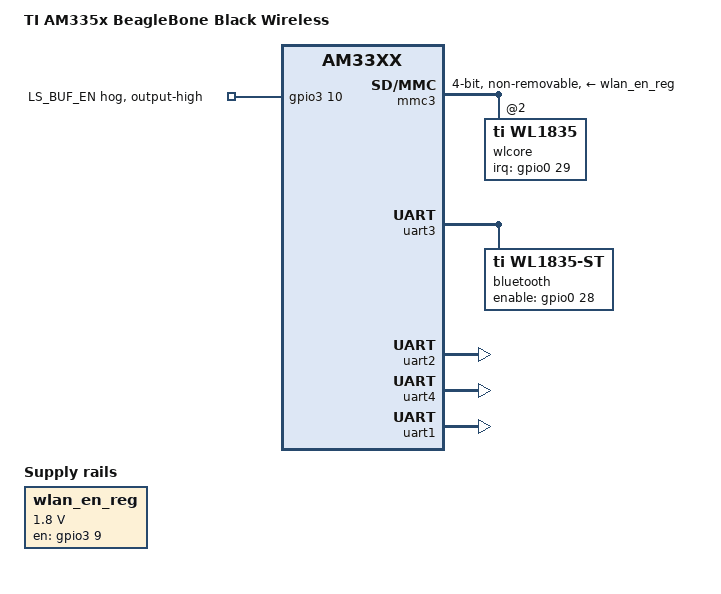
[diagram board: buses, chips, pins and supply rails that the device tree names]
// SPDX-License-Identifier: GPL-2.0-only
/*
 * Copyright (C) 2012 Texas Instruments Incorporated - https://www.ti.com/
 */
/dts-v1/;

#include "am33xx.dtsi"
#include "am335x-bone-common.dtsi"
#include "am335x-boneblack-common.dtsi"
#include <dt-bindings/interrupt-controller/irq.h>

/ {
	model = "TI AM335x BeagleBone Black Wireless";
	compatible = "ti,am335x-bone-black-wireless", "ti,am335x-bone-black", "ti,am335x-bone", "ti,am33xx";

	wlan_en_reg: fixedregulator@2 {
		compatible = "regulator-fixed";
		regulator-name = "wlan-en-regulator";
		regulator-min-microvolt = <1800000>;
		regulator-max-microvolt = <1800000>;
		startup-delay-us= <70000>;

		/* WL_EN */
		gpio = <&gpio3 9 0>;
		enable-active-high;
	};
};

&am33xx_pinmux {
	bt_pins: pinmux_bt_pins {
		pinctrl-single,pins = <
			AM33XX_PADCONF(AM335X_PIN_MII1_TXD0, PIN_OUTPUT_PULLUP, MUX_MODE7)	/* gmii1_txd0.gpio0_28 - BT_EN */
		>;
	};

	mmc3_pins: pinmux_mmc3_pins {
		pinctrl-single,pins = <
			AM33XX_PADCONF(AM335X_PIN_MII1_RXD1, PIN_INPUT_PULLUP, MUX_MODE6 ) /* (L15) gmii1_rxd1.mmc2_clk */
			AM33XX_PADCONF(AM335X_PIN_MII1_TX_EN, PIN_INPUT_PULLUP, MUX_MODE6 ) /* (J16) gmii1_txen.mmc2_cmd */
			AM33XX_PADCONF(AM335X_PIN_MII1_RX_DV, PIN_INPUT_PULLUP, MUX_MODE5 ) /* (J17) gmii1_rxdv.mmc2_dat0 */
			AM33XX_PADCONF(AM335X_PIN_MII1_TXD3, PIN_INPUT_PULLUP, MUX_MODE5 ) /* (J18) gmii1_txd3.mmc2_dat1 */
			AM33XX_PADCONF(AM335X_PIN_MII1_TXD2, PIN_INPUT_PULLUP, MUX_MODE5 ) /* (K15) gmii1_txd2.mmc2_dat2 */
			AM33XX_PADCONF(AM335X_PIN_MII1_COL, PIN_INPUT_PULLUP, MUX_MODE5 ) /* (H16) gmii1_col.mmc2_dat3 */
		>;
	};

	uart3_pins: pinmux_uart3_pins {
		pinctrl-single,pins = <
			AM33XX_PADCONF(AM335X_PIN_MII1_RXD3, PIN_INPUT_PULLUP, MUX_MODE1)	/* gmii1_rxd3.uart3_rxd */
			AM33XX_PADCONF(AM335X_PIN_MII1_RXD2, PIN_OUTPUT_PULLDOWN, MUX_MODE1)	/* gmii1_rxd2.uart3_txd */
			AM33XX_PADCONF(AM335X_PIN_MDIO, PIN_INPUT, MUX_MODE3)		/* mdio_data.uart3_ctsn */
			AM33XX_PADCONF(AM335X_PIN_MDC, PIN_OUTPUT_PULLDOWN, MUX_MODE3)	/* mdio_clk.uart3_rtsn */
		>;
	};

	wl18xx_pins: pinmux_wl18xx_pins {
		pinctrl-single,pins = <
			AM33XX_PADCONF(AM335X_PIN_MII1_TX_CLK, PIN_OUTPUT_PULLDOWN, MUX_MODE7)	/* gmii1_txclk.gpio3_9 WL_EN */
			AM33XX_PADCONF(AM335X_PIN_RMII1_REF_CLK, PIN_INPUT_PULLDOWN, MUX_MODE7)	/* rmii1_refclk.gpio0_29 WL_IRQ */
			AM33XX_PADCONF(AM335X_PIN_MII1_RX_CLK, PIN_OUTPUT_PULLUP, MUX_MODE7)	/* gmii1_rxclk.gpio3_10 LS_BUF_EN */
		>;
	};
	uart2_pins: uart2_pins {
		pinctrl-single,pins = < 
			AM33XX_IOPAD(0x954, PIN_OUTPUT_PULLDOWN | MUX_MODE1)
			AM33XX_IOPAD(0x950, PIN_INPUT_PULLUP | MUX_MODE1)
			>;
	};
	uart1_pins: uart1_pins {
		pinctrl-single,pins = < 
			AM33XX_IOPAD(0x984, PIN_OUTPUT_PULLDOWN | MUX_MODE1)
			AM33XX_IOPAD(0x980, PIN_INPUT_PULLUP | MUX_MODE1)
			>;
	};
	uart4_pins: uart4_pins {
		pinctrl-single,pins = <
			AM33XX_IOPAD(0x870, PIN_INPUT_PULLUP | MUX_MODE6)
			AM33XX_IOPAD(0x874, PIN_OUTPUT_PULLDOWN | MUX_MODE6)
			>;
	};
};

&mac {
	status = "disabled";
};

&mmc3 {
	dmas = <&edma_xbar 12 0 1
		&edma_xbar 13 0 2>;
	dma-names = "tx", "rx";
	status = "okay";
	vmmc-supply = <&wlan_en_reg>;
	bus-width = <4>;
	non-removable;
	cap-power-off-card;
	keep-power-in-suspend;
	pinctrl-names = "default";
	pinctrl-0 = <&mmc3_pins &wl18xx_pins>;

	#address-cells = <1>;
	#size-cells = <0>;
	wlcore: wlcore@2 {
		compatible = "ti,wl1835";
		reg = <2>;
		interrupt-parent = <&gpio0>;
		interrupts = <29 IRQ_TYPE_EDGE_RISING>;
	};
};

&uart3 {
	pinctrl-names = "default";
	pinctrl-0 = <&uart3_pins &bt_pins>;
	status = "okay";

	bluetooth {
		compatible = "ti,wl1835-st";
		enable-gpios = <&gpio0 28 GPIO_ACTIVE_HIGH>;
	};
};

&gpio3 {
	ls_buf_en {
		gpio-hog;
		gpios = <10 GPIO_ACTIVE_HIGH>;
		output-high;
		line-name = "LS_BUF_EN";
	};
};
&uart2 {
	compatible = "ti,am3352-uart", "ti,omap3-uart"; //This is used when identifying a compatible device driver
	status = "okay"; ///Setting the status to "okay" enables the device
    //This is the name that corresponds to the pin control mode on the line below it
	pinctrl-names = "default";
    //This last entry binds the UART2 device to the pin control node defined above
	pinctrl-0 = <&uart2_pins>;
};

&uart4 {
	compatible = "ti,am3352-uart", "ti,omap3-uart";
	status = "okay";
	pinctrl-names = "default";
	pinctrl-0 = <&uart4_pins>;
};

&uart1 {
	compatible = "serial";
	status = "okay";
	pinctrl-names = "default";
	pinctrl-0 = <&uart1_pins>;
};

/*
P9_24 {
	gpio = <0x37 0xf 0x0>;
	input;
	dir-changeable;
	gpio-name = "P9_24";
};

P9_24_pinmux {
	pinctrl-0 = <0x162>;
	pinctrl-1 = <0x163>;
	pinctrl-2 = <0x164>;
	pinctrl-3 = <0x165>;
	pinctrl-4 = <0x166>;
	pinctrl-5 = <0x167>;
	pinctrl-6 = <0x168>;
	pinctrl-7 = <0x169>;
	compatible = "bone-pinmux-helper";
	status = "okay";
	pinctrl-names = "default", "gpio", "gpio_pu", "gpio_pd", "uart", "can", "i2c", "pruin";
};
*/

/*
pinmux_P9_24_uart_pin {
	pinctrl-single,pins = <0x184 0x30>;
	phandle = <0x166>;
	linux,phandle = <0x166>;
};



serial@48022000 {
	reg = <0x48022000 0x2000>;
	dmas = <0x2a 0x1c 0x0 0x2a 0x1d 0x0>;
	interrupts = <0x49>;
	pinctrl-0 = <0x166>;
	compatible = "ti,am3352-uart", "ti,omap3-uart";
	clock-frequency = <0x2dc6c00>;
	status = "okay";
	ti,hwmods = "uart2";
	phandle = <0x92>;
	dma-names = "tx", "rx";
	pinctrl-names = "default";
	linux,phandle = <0x92>;
};
*/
